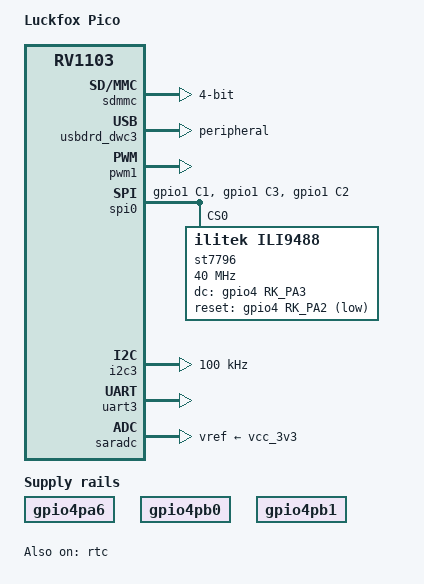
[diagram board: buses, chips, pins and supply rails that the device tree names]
// SPDX-License-Identifier: (GPL-2.0+ OR MIT)
/*
 * Copyright (c) 2022 Rockchip Electronics Co., Ltd.
 */

/dts-v1/;

#include "rv1103.dtsi"
#include "rv1106-evb.dtsi"
#include "rv1103-luckfox-pico-ipc.dtsi"

/ {
	model = "Luckfox Pico";
	compatible = "rockchip,rv1103g-38x38-ipc-v10", "rockchip,rv1103";

	gpio4pa4: gpio4pa4 {
		status = "disabled";
		compatible = "regulator-fixed";
		pinctrl-names = "default";
		pinctrl-0 = <&gpio4_pa4>;
		regulator-name = "gpio4_pa4";
		regulator-always-on;
	};

	gpio4pa3: gpio4pa3 {
		status = "disabled";
		compatible = "regulator-fixed";
		pinctrl-names = "default";
		pinctrl-0 = <&gpio4_pa3>;
		regulator-name = "gpio4_pa3";
		regulator-always-on;
	};

	gpio4pa2: gpio4pa2 {
		status = "disabled";
		compatible = "regulator-fixed";
		pinctrl-names = "default";
		pinctrl-0 = <&gpio4_pa2>;
		regulator-name = "gpio4_pa2";
		regulator-always-on;
	};

	gpio4pa6: gpio4pa6 {
		compatible = "regulator-fixed";
		pinctrl-names = "default";
		pinctrl-0 = <&gpio4_pa6>;
		regulator-name = "gpio4_pa6";
		regulator-always-on;
	};

	gpio4pb0: gpio4pb0 {
		compatible = "regulator-fixed";
		pinctrl-names = "default";
		pinctrl-0 = <&gpio4_pb0>;
		regulator-name = "gpio4_pb0";
		regulator-always-on;
	};

	gpio4pb1: gpio4pb1 {
		compatible = "regulator-fixed";
		pinctrl-names = "default";
		pinctrl-0 = <&gpio4_pb1>;
		regulator-name = "gpio4_pb1";
		regulator-always-on;
	};

	adc-keys {
		status = "disabled";
	};
};

/**********GPIO***********/
&pinctrl{
	gpio {
		gpio4_pa4: gpio4-pa4 {
			rockchip,pins = <4 RK_PA4 RK_FUNC_GPIO &pcfg_pull_none>;
		};

		gpio4_pa3: gpio4-pa3 {
			rockchip,pins = <4 RK_PA3 RK_FUNC_GPIO &pcfg_pull_none>;
		};

		gpio4_pa2: gpio4-pa2 {
			rockchip,pins = <4 RK_PA2 RK_FUNC_GPIO &pcfg_pull_none>;
		};

		gpio4_pa6: gpio4-pa6 {
			rockchip,pins = <4 RK_PA6 RK_FUNC_GPIO &pcfg_pull_none>;
		};

		gpio4_pb0: gpio4-pb0 {
			rockchip,pins = <4 RK_PB0 RK_FUNC_GPIO &pcfg_pull_none>;
		};

		gpio4_pb1: gpio4-pb1 {
			rockchip,pins = <4 RK_PB1 RK_FUNC_GPIO &pcfg_pull_none>;
		};

		gpio1_pc6: gpio1-pc6 {
   	 		rockchip,pins = <1 RK_PC6 RK_FUNC_GPIO &pcfg_pull_none>;
		};
	};
};

/**********SDMMC**********/
&sdmmc {
	max-frequency = <50000000>;
	no-sdio;
	no-mmc;
	bus-width = <4>;
	cap-mmc-highspeed;
	cap-sd-highspeed;
	disable-wp;
	pinctrl-names = "default";
	pinctrl-0 = <&sdmmc0_clk &sdmmc0_cmd &sdmmc0_det &sdmmc0_bus4>;
	status = "okay";
};

/**********ETH**********/
&gmac {
	status = "disabled";
};

/**********USB**********/
&usbdrd_dwc3 {
	status = "okay";
	dr_mode = "peripheral";
};

/**********SPI**********/
/* SPI0_M0 */
&pinctrl {
    spi0 {
        /omit-if-no-ref/
        spi0m0_pins: spi0m0-pins {
            rockchip,pins =
                /* spi0_clk_m0 */
                <1 RK_PC1 4 &pcfg_pull_none>,
                /* spie_miso_m0 */
                <1 RK_PC3 6 &pcfg_pull_none>,
                /* spi_mosi_m0 */
                <1 RK_PC2 6 &pcfg_pull_none>;
        };
    };
};

/*PWM for Buzzer*/
/**********PWM**********/
/* PWM1_M0 */
&pwm1 {
    status = "okay";
};

&spi0 {
	status = "okay";
	pinctrl-names = "default";
	pinctrl-0 = <&spi0m0_cs0 &spi0m0_pins>;

	st7796:st7796@0 {
		status = "okay";
		compatible = "ilitek,ili9488";
		reg = <0>;
		spi-max-frequency = <40000000>;
		fps = <30>;
		buswidth = <8>;
		debug = <0x7>;
		rotate = <180>;
		bgr;
		pinctrl-names = "default";
		pinctrl-0 = <&gpio4_pa4 &gpio4_pa3 &gpio4_pa2>; 
		/* led-gpios = <&gpio4 RK_PA4 GPIO_ACTIVE_HIGH>; //BL */ 
		dc-gpios = <&gpio4 RK_PA3 GPIO_ACTIVE_HIGH>; //DC
		reset-gpios = <&gpio4 RK_PA2 GPIO_ACTIVE_LOW>; //RES
	};
};

/**********RTC**********/
&rtc {
	status = "okay";
};

/**********I2C**********/
/* I2C3_M1 */
&i2c3 {
	status = "okay";
	clock-frequency = <100000>;
};

/**********UART**********/
/* UART3_M1 */
&uart3 {
	status = "okay";
	pinctrl-names = "default";
	pinctrl-0 = <&uart3m1_xfer>;
};

/* UART4_M1 */
&uart4 {
	status = "disabled";
};

/*****ADC*****/
&saradc {
	status = "okay";
	vref-supply = <&vcc_3v3>;
};
